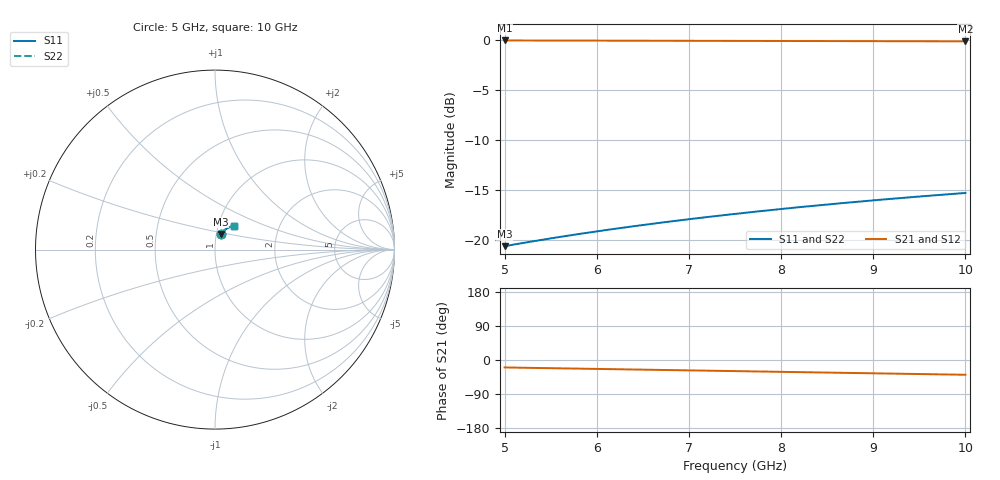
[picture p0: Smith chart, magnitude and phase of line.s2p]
! Created Mon Nov 11 19:01:38 2024
# hz S ma R 50
! 2 Port Network Data from SP1.SP block
! freq  magS11  angS11  magS21  angS21  magS12  angS12  magS22  angS22
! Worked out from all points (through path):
!   251 points, 5 GHz to 10 GHz, reference 50 ohm
!   highest |S21| = -0.04 dB at 5 GHz (marker M1); lowest = -0.1 dB at 10 GHz (marker M2)
!   group delay of S21, straight-line fit = 10.7 ps
!   lowest |S11| = -20.6 dB at 5 GHz (marker M3), VSWR 1.21, Z = 52.4 + j9.26 ohm
!   |S11| at or under -10 dB: start of sweep to end of sweep
!   |S22| runs from -20.6 to -15.3 dB; largest |S21 - S12| = 0
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5e9  0.093 70.3  0.9957 -19.7  0.9957 -19.7  0.093 70.4
5.2e9  0.0965 69.5  0.9953 -20.4  0.9953 -20.4  0.0965 69.6
5.4e9  0.09999 68.7  0.995 -21.2  0.995 -21.2  0.09999 68.8
5.6e9  0.1034 67.9  0.9946 -22.0  0.9946 -22.0  0.1034 68.1
5.84e9  0.1076 67.0  0.9942 -22.9  0.9942 -22.9  0.1076 67.1
6.02e9  0.1106 66.3  0.9939 -23.6  0.9939 -23.6  0.1106 66.4
6.24e9  0.1143 65.4  0.9934 -24.5  0.9934 -24.5  0.1143 65.6
6.44e9  0.1177 64.7  0.9931 -25.3  0.9931 -25.3  0.1177 64.8
6.68e9  0.1217 63.7  0.9926 -26.2  0.9926 -26.2  0.1217 63.9
6.88e9  0.1249 62.9  0.9922 -27.0  0.9922 -27.0  0.1249 63.1
7.08e9  0.1282 62.2  0.9917 -27.7  0.9917 -27.7  0.1282 62.3
7.28e9  0.1314 61.4  0.9913 -28.5  0.9913 -28.5  0.1314 61.6
7.5e9  0.1349 60.5  0.9909 -29.4  0.9909 -29.4  0.1349 60.7
7.72e9  0.1384 59.7  0.9904 -30.2  0.9904 -30.2  0.1384 59.9
7.92e9  0.1415 58.9  0.9899 -31.0  0.9899 -31.0  0.1415 59.1
8.14e9  0.1449 58.1  0.9895 -31.8  0.9895 -31.8  0.1449 58.2
8.34e9  0.1479 57.3  0.989 -32.6  0.989 -32.6  0.1479 57.5
8.6e9  0.1518 56.3  0.9884 -33.6  0.9884 -33.6  0.1518 56.5
8.78e9  0.1545 55.6  0.988 -34.3  0.988 -34.3  0.1545 55.8
9.18e9  0.1603 54.1  0.9871 -35.8  0.9871 -35.8  0.1603 54.3
9.6e9  0.1662 52.4  0.9861 -37.5  0.9861 -37.5  0.1662 52.7
1e10  0.1717 50.9  0.9851 -39.0  0.9851 -39.0  0.1717 51.1
